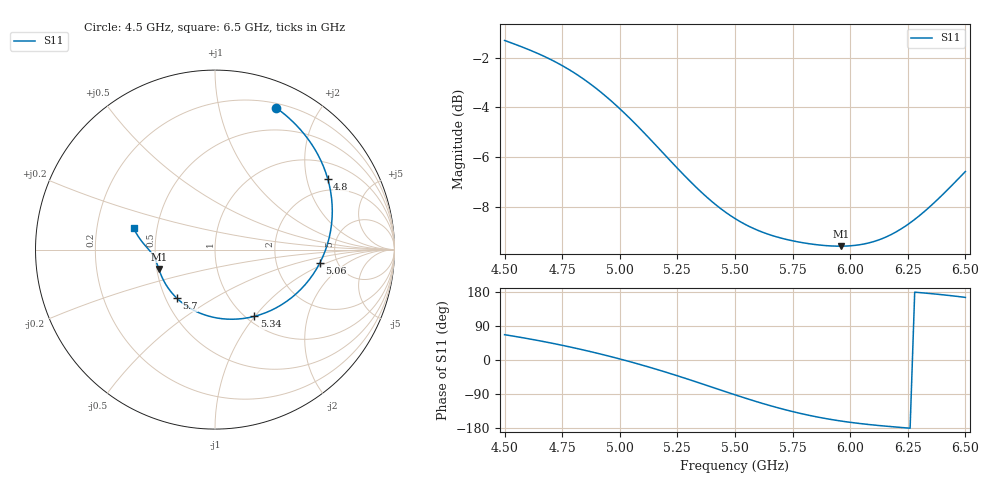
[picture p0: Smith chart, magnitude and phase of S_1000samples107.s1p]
! TOUCHSTONE file generated by CST MICROWAVE STUDIO
! Date and time: Thu Oct 27 00:35:58 2022
! Project name: L.cst
! Parameters = {Di=1.27; Epsilon_r=1.56; InnerDiameter=1.27; Length=2; Lf=10; Lg=60; OuterConductorThickness=0.2921; OuterDiameter=3.6; Wf=3; Wp=41.2; de=1.5; df=6.8; g=0.8; gx=1.68829; gy=1.67252; h=2.34; hf=1.524; px=11.066; py=9.87305; w=9.7; wx=9.37774; wy=8.20053}
! Header version: 2018
! Port assignment regex: !\s*Touchstone port\s*([0-9]+)\s*=\s*(CST MWS port|CST DS port)\s*([0-9]+|Zmin|Zmax)\s*\(\"(.*)\"\)(\s*mode\s*([0-9]+))?.*
! Touchstone port assignment:
! Touchstone port 1 = CST MWS port 1 ("")
# GHz S DB R 50
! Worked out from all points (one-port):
!   101 points, 4.5 GHz to 6.5 GHz, reference 50 ohm
!   lowest |S11| = -9.6 dB at 5.96 GHz (marker M1), VSWR 1.99, Z = 25.6 - j6.2 ohm
!   |S11| at or under -10 dB: nowhere
!   S11 on the Smith chart (normalised r, x): 4.5 GHz: 0.24, +1.49; 4.8 GHz: 1.52, +2.68; 5.06 GHz: 3.67, -0.83; 5.34 GHz: 1.09, -0.99; 5.7 GHz: 0.57, -0.35; 6.5 GHz: 0.37, +0.11
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4.5  -1.30 66.8
4.58  -1.58 58.6
4.64  -1.81 52.0
4.7  -2.07 45.0
4.76  -2.37 37.5
4.8  -2.59 32.2
4.86  -2.97 23.9
4.9  -3.25 18.1
4.94  -3.56 12.1
5  -4.05 2.7
5.06  -4.59 -7.2
5.1  -4.97 -14.0
5.16  -5.56 -24.7
5.22  -6.16 -35.9
5.26  -6.55 -43.6
5.34  -7.29 -59.5
5.42  -7.95 -75.7
5.5  -8.48 -91.8
5.6  -8.96 -111.0
5.7  -9.27 -128.4
5.76  -9.40 -137.6
5.86  -9.54 -150.7
5.96  -9.59 -161.0
6  -9.58 -164.5
6.14  -9.28 -173.8
6.26  -8.65 -180.0
6.4  -7.53 172.2
6.5  -6.58 165.2
